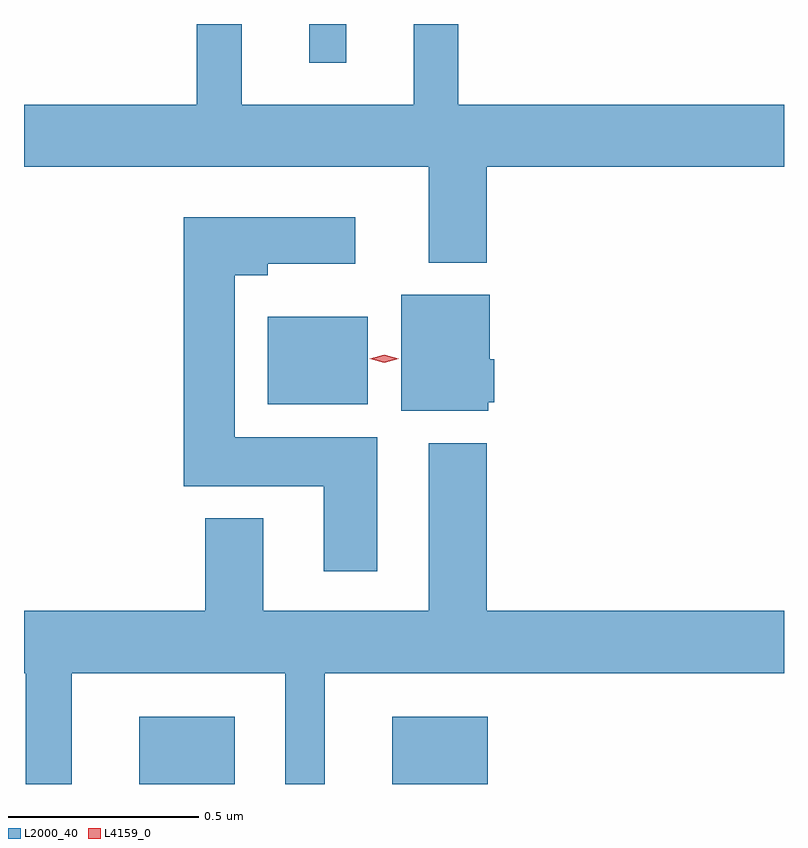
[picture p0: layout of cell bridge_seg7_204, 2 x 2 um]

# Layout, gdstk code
import gdstk
lib = gdstk.Library(unit=1e-6, precision=1e-09)
def R(c, l, rs):  # rectangles x0, y0, x1, y1
    for r in rs: c.add(gdstk.rectangle(r[:2], r[2:], *l))
def P(c, l, *ps):  # polygons
    for p in ps: c.add(gdstk.Polygon(p, *l))
L2000_40 = (2000, 40)
L4159_0 = (4159, 0)

bridge_seg7_204 = lib.new_cell('bridge_seg7_204')
R(bridge_seg7_204, L2000_40, [(517.103,1017.64,517.354,1017.817), (517.769,1017.64,518.02,1017.817), (517.442,1018.64,517.705,1018.87), (517.551,1019.538,517.648,1019.64)])
P(bridge_seg7_204, L2000_40, [(518.018,1019.264),(518.8,1019.264),(518.8,1019.428),(517.943,1019.428),(517.943,1019.64),(517.826,1019.64),(517.826,1019.428),(517.373,1019.428),(517.373,1019.64),(517.255,1019.64),(517.255,1019.428),(516.8,1019.428),(516.8,1019.264),(517.865,1019.264),(517.865,1019.012),(518.018,1019.012)],
  [(517.729,1018.552),(517.354,1018.552),(517.354,1018.979),(517.441,1018.979),(517.441,1019.009),(517.672,1019.009),(517.672,1019.131),(517.22,1019.131),(517.22,1018.424),(517.589,1018.424),(517.589,1018.2),(517.729,1018.2)],
  [(518.022,1018.644),(518.038,1018.644),(518.038,1018.758),(518.026,1018.758),(518.026,1018.927),(517.793,1018.927),(517.793,1018.622),(518.022,1018.622)],
  [(516.925,1017.932),(517.487,1017.932),(517.487,1017.64),(517.591,1017.64),(517.591,1017.932),(518.8,1017.932),(518.8,1018.096),(518.018,1018.096),(518.018,1018.537),(517.865,1018.537),(517.865,1018.096),(517.429,1018.096),(517.429,1018.339),(517.277,1018.339),(517.277,1018.096),(516.8,1018.096),(516.8,1017.932),(516.804,1017.932),(516.804,1017.64),(516.925,1017.64)])
P(bridge_seg7_204, L4159_0, [(517.748,1018.749),(517.71,1018.759),(517.71,1018.759),(517.71,1018.759),(517.748,1018.769),(517.786,1018.759),(517.786,1018.759),(517.786,1018.759)])

lib.write_gds('bridge_seg7_204.gds')
